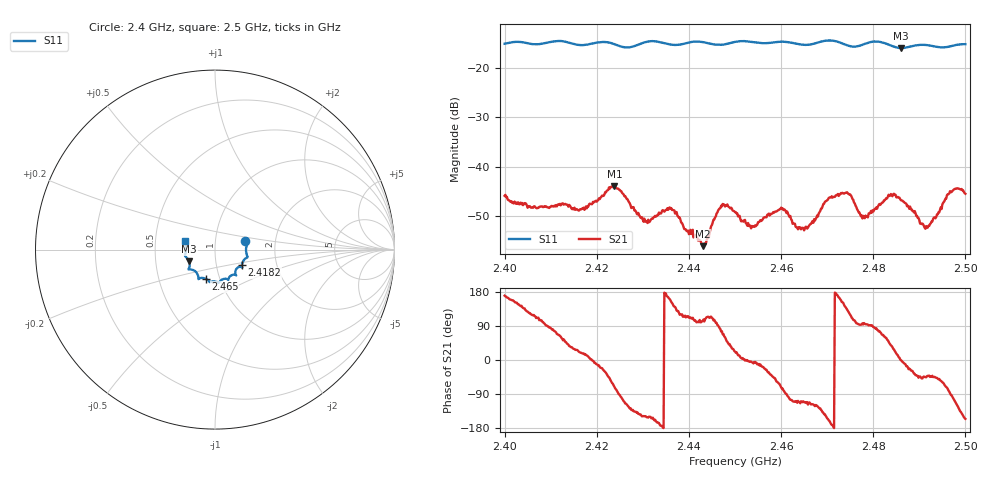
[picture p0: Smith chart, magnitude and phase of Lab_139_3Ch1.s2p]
# Hz S RI R 50
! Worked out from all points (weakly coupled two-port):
!   601 points, 2.4 GHz to 2.5 GHz, reference 50 ohm
!   highest |S21| = -43.94 dB at 2.4238 GHz (marker M1); lowest = -56.1 dB at 2.443 GHz (marker M2)
!   lowest |S11| = -16.0 dB at 2.486 GHz (marker M3), VSWR 1.38, Z = 37.1 - j4.96 ohm
!   |S11| at or under -10 dB: start of sweep to end of sweep
!   S12 and S22 are empty: the file has one direction only
!   S11 on the Smith chart (normalised r, x): 2.4 GHz: 1.40, +0.13; 2.4182 GHz: 1.33, -0.23; 2.465 GHz: 0.86, -0.29; 2.5 GHz: 0.71, +0.07
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2.4e9  0.1689 0.0458  -0.00499 0.000903  0 0  0 0
2.416667e9  0.1549 -0.0685  0.00351 0.0012  0 0  0 0
2.418167e9  0.1496 -0.0851  0.00391 0.000596  0 0  0 0
2.423833e9  0.1439 -0.0964  0.00209 -0.006  0 0  0 0
2.4305e9  0.1151 -0.1399  -0.00237 -0.00148  0 0  0 0
2.433333e9  0.1166 -0.1412  -0.00315 -0.000788  0 0  0 0
2.436333e9  0.0962 -0.1412  -0.00318 0.00179  0 0  0 0
2.443e9  0.072 -0.167  -0.000355 0.00153  0 0  0 0
2.447e9  0.0435 -0.165  0.00104 0.0039  0 0  0 0
2.45e9  0.0252 -0.1808  0.00321 0.00132  0 0  0 0
2.454e9  0.0141 -0.181  0.00246 -0.000386  0 0  0 0
2.460333e9  -0.0288 -0.1808  0.000968 -0.00367  0 0  0 0
2.465e9  -0.0527 -0.1622  -0.000837 -0.00211  0 0  0 0
2.466667e9  -0.0713 -0.1576  -0.00122 -0.00244  0 0  0 0
2.472833e9  -0.0923 -0.1538  -0.00495 0.00178  0 0  0 0
2.474833e9  -0.1005 -0.1321  -0.00277 0.00443  0 0  0 0
2.478167e9  -0.1346 -0.1109  -0.00029 0.003  0 0  0 0
2.483333e9  -0.1421 -0.096  0.00347 0.00387  0 0  0 0
2.486e9  -0.1439 -0.0651  0.00459 -5.45e-05  0 0  0 0
2.491667e9  -0.1667 -0.0297  0.00178 -0.00163  0 0  0 0
2.4965e9  -0.1623 0.0225  0.000594 -0.00534  0 0  0 0
2.5e9  -0.1668 0.0468  -0.00484 -0.00222  0 0  0 0
